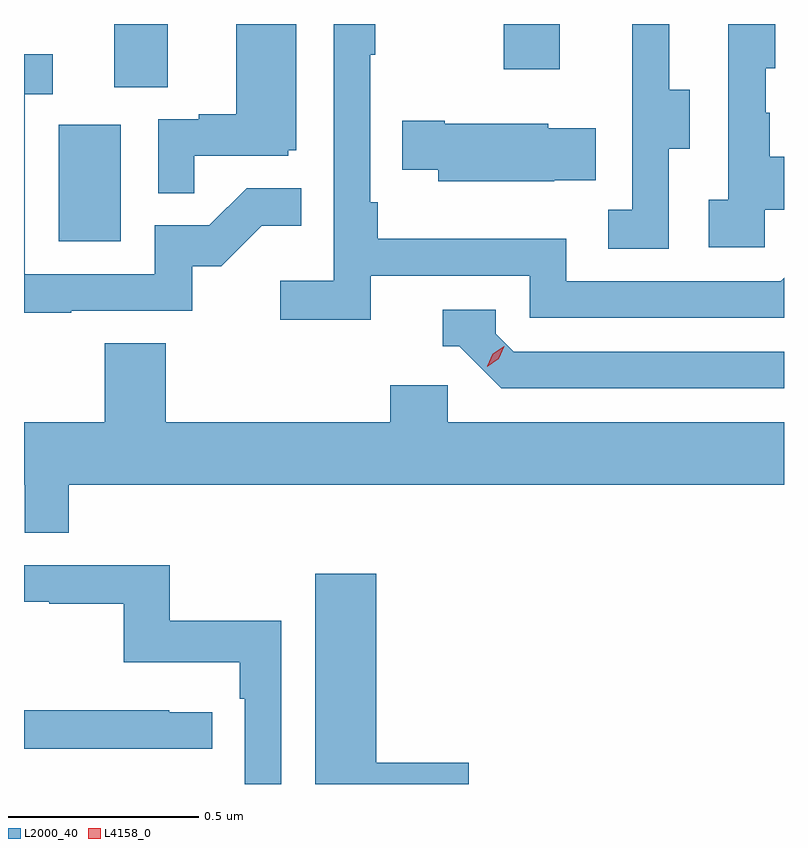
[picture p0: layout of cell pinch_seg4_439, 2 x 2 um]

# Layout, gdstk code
import gdstk
lib = gdstk.Library(unit=1e-6, precision=1e-09)
def R(c, l, rs):  # rectangles x0, y0, x1, y1
    for r in rs: c.add(gdstk.rectangle(r[:2], r[2:], *l))
def P(c, l, *ps):  # polygons
    for p in ps: c.add(gdstk.Polygon(p, *l))
L2000_40 = (2000, 40)
L4158_0 = (4158, 0)

pinch_seg4_439 = lib.new_cell('pinch_seg4_439')
R(pinch_seg4_439, L2000_40, [(950.09,784.14,950.254,784.447), (950.237,784.546,950.377,784.712), (951.262,784.593,951.409,784.712)])
P(pinch_seg4_439, L2000_40, [(950.447,784.365),(950.694,784.365),(950.694,784.38),(950.716,784.38),(950.716,784.712),(950.558,784.712),(950.558,784.474),(950.459,784.474),(950.459,784.461),(950.352,784.461),(950.352,784.267),(950.447,784.267)],
  [(951.696,784.384),(951.751,784.384),(951.751,784.539),(951.697,784.539),(951.697,784.712),(951.599,784.712),(951.599,784.527),(951.6,784.527),(951.6,784.223),(951.537,784.223),(951.537,784.12),(951.696,784.12)],
  [(951.948,784.223),(951.999,784.223),(951.999,784.363),(951.961,784.363),(951.961,784.478),(951.951,784.478),(951.951,784.596),(951.976,784.596),(951.976,784.712),(951.852,784.712),(951.852,784.25),(951.801,784.25),(951.801,784.125),(951.948,784.125)],
  [(950.912,784.05),(951.33,784.05),(951.33,783.939),(951.999,783.939),(951.999,784.044),(951.99,784.035),(951.426,784.035),(951.426,784.147),(950.93,784.147),(950.93,784.243),(950.91,784.243),(950.91,784.631),(950.923,784.631),(950.923,784.712),(950.814,784.712),(950.814,784.036),(950.673,784.036),(950.673,783.934),(950.912,783.934)],
  [(950.123,783.957),(950.442,783.957),(950.442,784.074),(950.518,784.074),(950.625,784.181),(950.729,784.181),(950.729,784.28),(950.585,784.28),(950.487,784.182),(950.343,784.182),(950.343,784.053),(950.001,784.053),(950.001,784.527),(950.074,784.527),(950.074,784.633),(949.999,784.633),(949.999,783.952),(950.123,783.952)],
  [(951.395,784.301),(951.503,784.301),(951.503,784.438),(951.378,784.438),(951.378,784.45),(951.106,784.45),(951.106,784.458),(950.995,784.458),(950.995,784.328),(951.089,784.328),(951.089,784.298),(951.395,784.298)],
  [(951.999,783.849),(951.288,783.849),(951.24,783.897),(951.24,783.96),(951.101,783.96),(951.101,783.864),(951.144,783.864),(951.255,783.753),(951.999,783.753)],
  [(950.117,783.5),(951.999,783.5),(951.999,783.664),(951.114,783.664),(951.114,783.762),(950.963,783.762),(950.963,783.664),(950.372,783.664),(950.372,783.872),(950.212,783.872),(950.212,783.664),(949.999,783.664),(949.999,783.5),(950.001,783.5),(950.001,783.373),(950.117,783.373)],
  [(950.676,783.142),(950.383,783.142),(950.383,783.288),(949.999,783.288),(949.999,783.192),(950.065,783.192),(950.065,783.187),(950.262,783.187),(950.262,783.032),(950.567,783.032),(950.567,782.936),(950.58,782.936),(950.58,782.712),(950.676,782.712)],
  [(951.169,782.768),(950.926,782.768),(950.926,783.265),(950.765,783.265),(950.765,782.712),(951.169,782.712)],
  [(950.494,782.901),(950.381,782.901),(950.381,782.906),(949.999,782.906),(949.999,782.805),(950.494,782.805)])
P(pinch_seg4_439, L4158_0, [(951.218,783.81),(951.218,783.811),(951.233,783.844),(951.263,783.864),(951.263,783.864),(951.263,783.864),(951.248,783.831),(951.218,783.81)])

lib.write_gds('pinch_seg4_439.gds')
